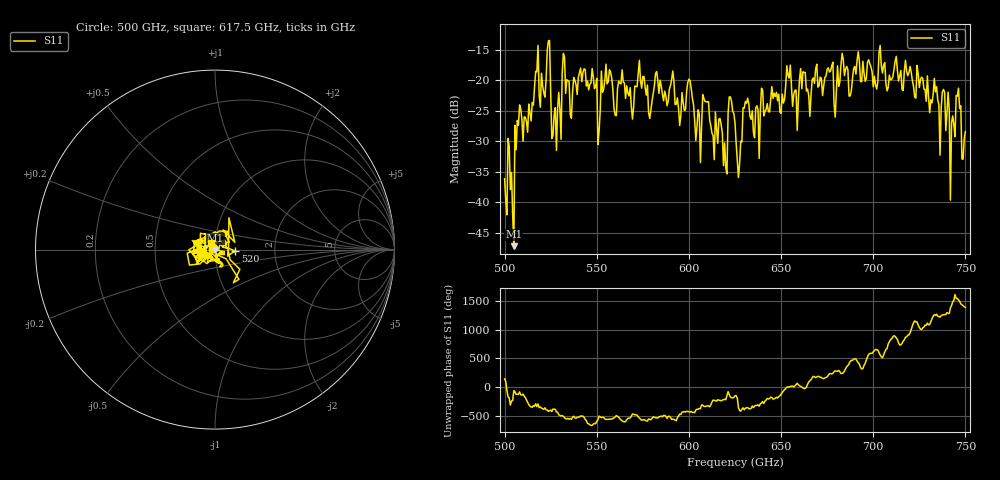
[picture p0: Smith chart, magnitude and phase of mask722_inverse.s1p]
!Created with skrf (http://scikit-rf.org).
# GHz S MA R 50.0
!freq magS11 angS11
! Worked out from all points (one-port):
!   401 points, 500 GHz to 750 GHz, reference 50 ohm
!   lowest |S11| = -47.2 dB at 505 GHz (marker M1), VSWR 1.01, Z = 50.2 - j0.387 ohm
!   |S11| at or under -10 dB: start of sweep to end of sweep
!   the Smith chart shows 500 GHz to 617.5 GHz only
!   S11 on the Smith chart (normalised r, x): 500 GHz: 0.97, +0.02; 520 GHz: 1.26, -0.02; 617.5 GHz: 0.95, +0.07
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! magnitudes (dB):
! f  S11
! 500 GHz  -36.1
! 505 GHz  -47.2
! 508.1 GHz  -24.0
! 520 GHz  -18.8
! 523.8 GHz  -13.5
! 526.9 GHz  -25.7
! 531.2 GHz  -18.8
! 548.8 GHz  -21.3
! 550.6 GHz  -30.5
! 562.5 GHz  -20.4
! 590.6 GHz  -19.8
! 593.8 GHz  -22.9
! 600 GHz  -19.8
! 605 GHz  -24.8
! 608.8 GHz  -23.5
! 617.5 GHz  -27.3
! 619.4 GHz  -30.3
! 622.5 GHz  -22.7
! 625 GHz  -27.0
! 627.5 GHz  -33.6
! 630.6 GHz  -23.5
! 656.2 GHz  -24.3
! 687.5 GHz  -22.5
! 718.8 GHz  -19.2
! 739.4 GHz  -28.2
! 743.1 GHz  -25.8
! 746.2 GHz  -21.3
! 750 GHz  -28.4
